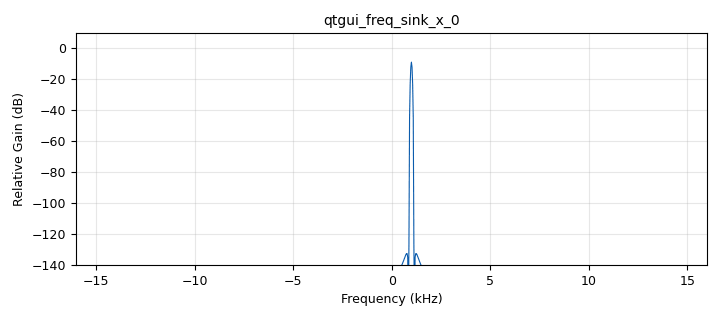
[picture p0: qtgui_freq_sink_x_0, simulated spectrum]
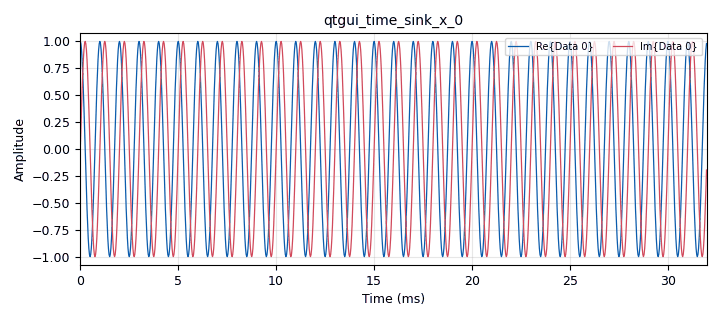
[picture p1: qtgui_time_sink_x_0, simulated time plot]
<?xml version='1.0' encoding='utf-8'?>
<?grc format='1' created='3.7.11'?>
<flow_graph>
<block>
<key>options</key>
<param><key>id</key><value>top_block</value></param>
<param><key>generate_options</key><value>qt_gui</value></param>
</block>
<block>
<key>variable</key>
<param><key>id</key><value>samp_rate</value></param>
<param><key>value</key><value>32000</value></param>
</block>
<block>
<key>analog_sig_source_x</key>
<param><key>id</key><value>analog_sig_source_x_0</value></param>
<param><key>amp</key><value>1</value></param>
<param><key>freq</key><value>1000</value></param>
<param><key>offset</key><value>0</value></param>
<param><key>type</key><value>complex</value></param>
<param><key>samp_rate</key><value>samp_rate</value></param>
<param><key>waveform</key><value>analog.GR_COS_WAVE</value></param>
</block>
<block>
<key>blocks_file_sink</key>
<param><key>id</key><value>blocks_file_sink_0</value></param>
<param><key>file</key><value>/home/diane/repos/sdrgnuradio/file_sink/complex_data/output.bin</value></param>
<param><key>type</key><value>complex</value></param>
</block>
<block>
<key>blocks_throttle</key>
<param><key>id</key><value>blocks_throttle_0</value></param>
<param><key>samples_per_second</key><value>samp_rate</value></param>
<param><key>type</key><value>complex</value></param>
</block>
<block>
<key>qtgui_freq_sink_x</key>
<param><key>id</key><value>qtgui_freq_sink_x_0</value></param>
<param><key>bw</key><value>samp_rate</value></param>
<param><key>fc</key><value>0</value></param>
<param><key>fftsize</key><value>1024</value></param>
<param><key>showports</key><value>True</value></param>
<param><key>type</key><value>complex</value></param>
<param><key>wintype</key><value>firdes.WIN_BLACKMAN_hARRIS</value></param>
</block>
<block>
<key>qtgui_time_sink_x</key>
<param><key>id</key><value>qtgui_time_sink_x_0</value></param>
<param><key>color1</key><value>"blue"</value></param>
<param><key>label1</key><value></value></param>
<param><key>color2</key><value>"red"</value></param>
<param><key>label2</key><value></value></param>
<param><key>size</key><value>1024</value></param>
<param><key>srate</key><value>samp_rate</value></param>
<param><key>type</key><value>complex</value></param>
</block>
<connection><source_block_id>analog_sig_source_x_0</source_block_id><sink_block_id>blocks_throttle_0</sink_block_id><source_key>0</source_key><sink_key>0</sink_key></connection>
<connection><source_block_id>blocks_throttle_0</source_block_id><sink_block_id>blocks_file_sink_0</sink_block_id><source_key>0</source_key><sink_key>0</sink_key></connection>
<connection><source_block_id>blocks_throttle_0</source_block_id><sink_block_id>qtgui_freq_sink_x_0</sink_block_id><source_key>0</source_key><sink_key>0</sink_key></connection>
<connection><source_block_id>blocks_throttle_0</source_block_id><sink_block_id>qtgui_time_sink_x_0</sink_block_id><source_key>0</source_key><sink_key>0</sink_key></connection>
</flow_graph>
